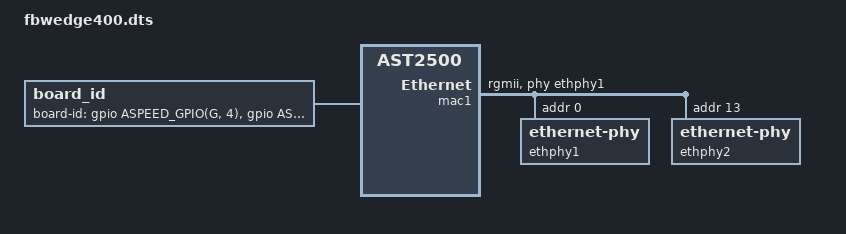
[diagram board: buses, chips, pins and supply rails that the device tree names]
/dts-v1/;

#include "ast2500-fboss.dtsi"

/ {
	aliases {
		eth0 = &mac1;
	};
};

&wdt1 {
	boot2nd = <1>;
};

&mac1 {
	status = "okay";
	phy-mode = "rgmii";
	pinctrl-names = "default";
	pinctrl-0 = <&pinctrl_mac2link_default &pinctrl_mdio2_default>;
	phy-handle = <&ethphy1 &ethphy2>;
	#address-cells = <1>;
	#size-cells = <0>;
	ethphy1: ethernet-phy@1 {
		reg = <0>;
	};
	ethphy2: ethernet-phy@2 {
		reg = <13>;
	};
};

#include <dt-bindings/gpio/aspeed-gpio.h>
/ {
	board_id {
		compatible = "board_id";
		board-id-gpios = <&gpio ASPEED_GPIO(G, 4) GPIO_ACTIVE_HIGH>,
		                 <&gpio ASPEED_GPIO(G, 5) GPIO_ACTIVE_HIGH>,
		                 <&gpio ASPEED_GPIO(G, 6) GPIO_ACTIVE_HIGH>,
		                 <&gpio ASPEED_GPIO(G, 7) GPIO_ACTIVE_HIGH>,
				 <&gpio ASPEED_GPIO(N, 6) GPIO_ACTIVE_HIGH>,
				 <&gpio ASPEED_GPIO(N, 7) GPIO_ACTIVE_HIGH>;
	};
};
